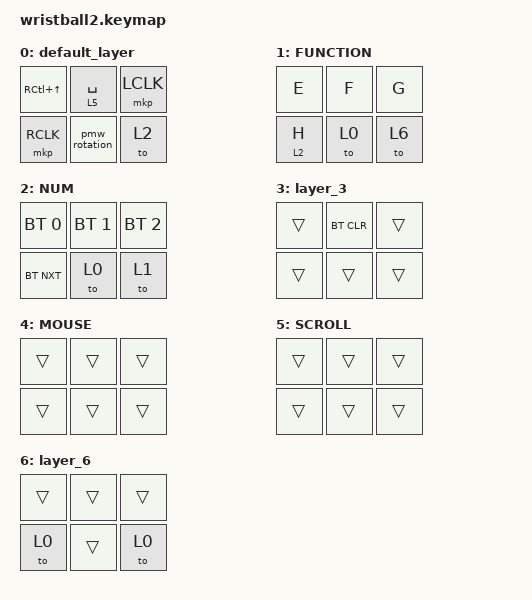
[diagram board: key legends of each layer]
#include <behaviors/rgbled_widget.dtsi>
#include <behaviors.dtsi>
#include <dt-bindings/zmk/bt.h>
#include <dt-bindings/zmk/keys.h>
#include <dt-bindings/zmk/pointing.h>

&mt {
    flavor = "balanced";
    quick-tap-ms = <0>;
};

&trackball {
    // automouse-layer = <1>;

    scroll-layers = <5>;

    // arrows {
    //     layers = <3>;
    //     bindings =
    //         <&kp RIGHT_ARROW>,
    //         <&kp LEFT_ARROW>,
    //         <&kp UP_ARROW>,
    //         <&kp DOWN_ARROW>;
    //     tick = <10>;
    //     wait-ms = <5>;
    //     tap-ms = <5>;
    // };
};

/ {
    behaviors {
        pmw_rotation: pmw_rotation {
            compatible = "zmk,behavior-pmw-rotation";
            #binding-cells = <0>;
        };
    };

    combos {
        compatible = "zmk,combos";

        tab {
            bindings = <&kp TAB>;
            key-positions = <11 12>;
        };

        shift_tab {
            bindings = <&kp LS(TAB)>;
            key-positions = <12 13>;
        };

        muhennkann {
            bindings = <&to_layer_0 INT_MUHENKAN>;
            key-positions = <11 10>;
        };

        double_quotation {
            bindings = <&kp DOUBLE_QUOTES>;
            key-positions = <20 21>;
        };

        eq {
            bindings = <&kp EQUAL>;
            key-positions = <24 25>;
        };

        lunch {
            bindings = <&kp RG(L)>;
            key-positions = <0 1>;
        };
    };

    macros {
        to_layer_0: to_layer_0 {
            compatible = "zmk,behavior-macro-one-param";
            #binding-cells = <1>;
            bindings = <&to 0 &macro_param_1to1 &kp MACRO_PLACEHOLDER>;
            label = "TO_LAYER_0";
        };
    };

    behaviors {
        lt_to_layer_0: lt_to_layer_0 {
            compatible = "zmk,behavior-hold-tap";
            label = "LAYER_TAP_TO_0";
            bindings = <&mo>, <&to_layer_0>;

            #binding-cells = <2>;
            tapping-term-ms = <200>;
        };
    };

    keymap {
        compatible = "zmk,keymap";

        default_layer {
            bindings = <
&kp RC(UP_ARROW)  &lt 5 SPACE    &mkp LCLK
&mkp RCLK         &pmw_rotation  &to 2
            >;
        };

        FUNCTION {
            bindings = <
&kp E    &kp F  &kp G
&lt 2 H  &to 0  &to 6
            >;
        };

        NUM {
            bindings = <
&bt BT_SEL 0  &bt BT_SEL 1  &bt BT_SEL 2
&bt BT_NXT    &to 0         &to 1
            >;
        };

        layer_3 {
            bindings = <
&trans  &bt BT_CLR  &trans
&trans  &trans      &trans
            >;
        };

        MOUSE {
            bindings = <
&trans  &trans  &trans
&trans  &trans  &trans
            >;
        };

        SCROLL {
            bindings = <
&trans  &trans  &trans
&trans  &trans  &trans
            >;
        };

        layer_6 {
            bindings = <
&trans  &trans  &trans
&to 0   &trans  &to 0
            >;
        };
    };
};
